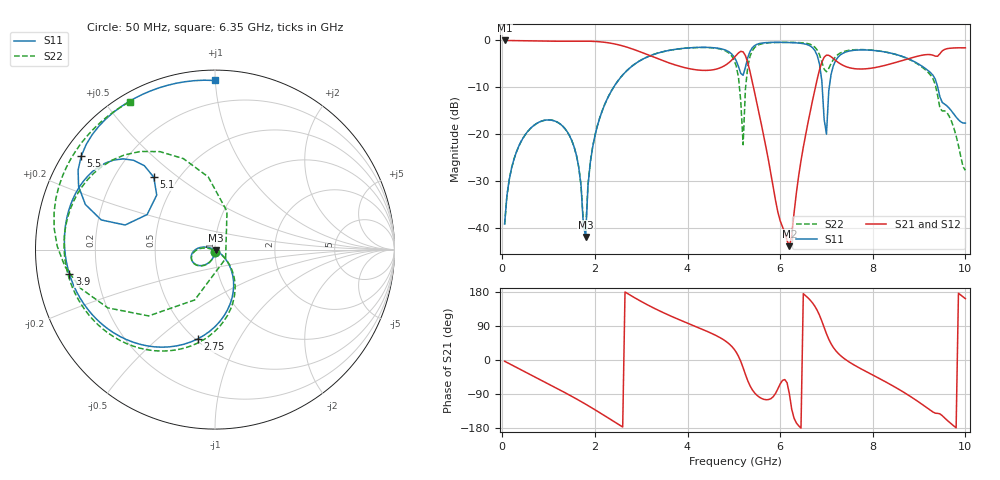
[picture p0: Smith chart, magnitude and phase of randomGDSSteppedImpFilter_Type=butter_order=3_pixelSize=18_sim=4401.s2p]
! freq	dB(S11)	phase(S11)	dB(S12)	phase(S12)
!  dB(S21)	phase(S21)	dB(S22)	phase(S22)
!S-par simulation data
#  GHz  S  DB  R 50
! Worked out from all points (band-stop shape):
!   200 points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, 50 MHz to 10 GHz, reference 50 ohm
!   highest |S21| = -0.01 dB at 50 MHz (marker M1); lowest = -43.8 dB at 6.2 GHz (marker M2)
!   |S21| within 3 dB of the highest: start of sweep to 3.129 GHz; 9.433 GHz to end of sweep (the widest 2 of 4)
!   lowest |S11| = -41.8 dB at 1.8 GHz (marker M3), VSWR 1.02, Z = 50.7 - j0.49 ohm
!   |S11| at or under -10 dB: start of sweep to 2.402 GHz; 6.908 GHz to 7.06 GHz (151.7 MHz wide, 2.17 % of centre); 9.404 GHz to end of sweep
!   |S22| runs from -40.4 to -0.4 dB; largest |S21 - S12| = 0
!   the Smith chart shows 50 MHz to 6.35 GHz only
!   S11 on the Smith chart (normalised r, x): 50 MHz: 1.00, -0.02; 2.75 GHz: 0.51, -0.69; 3.9 GHz: 0.10, -0.08; 5.1 GHz: 0.37, +0.41; 5.5 GHz: 0.05, +0.31; 6.35 GHz: 0.06, +1.00
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0.05  -39.07 -92.7  -0.01 -3.3  -0.01 -3.3  -39.20 -92.3
0.35  -22.67 -112.9  -0.06 -22.4  -0.06 -22.4  -22.66 -112.3
1  -16.93 -154.7  -0.17 -63.4  -0.17 -63.4  -16.92 -152.8
1.55  -22.65 169.4  -0.15 -99.2  -0.15 -99.2  -22.65 173.9
1.75  -39.16 161.8  -0.14 -113.1  -0.14 -113.1  -38.50 -175.9
1.8  -41.84 -36.7  -0.15 -116.6  -0.15 -116.6  -40.45 -57.0
2.05  -18.32 -48.0  -0.24 -134.9  -0.24 -134.9  -18.30 -46.9
2.75  -5.90 -101.0  -1.62 172.0  -1.62 172.0  -5.89 -97.4
3.4  -2.58 -143.7  -4.06 129.4  -4.06 129.4  -2.57 -139.0
3.9  -1.70 -170.5  -5.70 102.3  -5.70 102.3  -1.70 -165.3
5.05  -4.29 130.1  -3.17 20.8  -3.17 20.8  -5.40 109.2
5.1  -5.54 130.2  -2.65 9.9  -2.65 9.9  -7.82 95.3
5.2  -7.42 152.7  -2.43 -20.3  -2.43 -20.3  -22.21 -40.3
5.3  -3.68 165.4  -4.71 -54.5  -4.71 -54.5  -5.63 -135.0
5.5  -0.82 145.0  -13.46 -93.3  -13.46 -93.3  -1.11 178.7
6.2  -0.44 100.1  -43.82 -89.9  -43.82 -89.9  -0.41 128.0
6.35  -0.51 90.2  -32.51 -166.1  -32.51 -166.1  -0.44 119.8
6.7  -1.55 53.9  -12.76 150.5  -12.76 150.5  -1.06 95.4
7  -19.95 175.5  -3.14 69.3  -3.14 69.3  -6.68 96.5
7.25  -3.55 103.8  -4.66 17.9  -4.66 17.9  -2.99 102.7
8.35  -2.62 22.1  -5.09 -62.5  -5.09 -62.5  -2.62 39.5
10  -17.61 -23.5  -1.58 161.9  -1.58 161.9  -27.65 6.8
